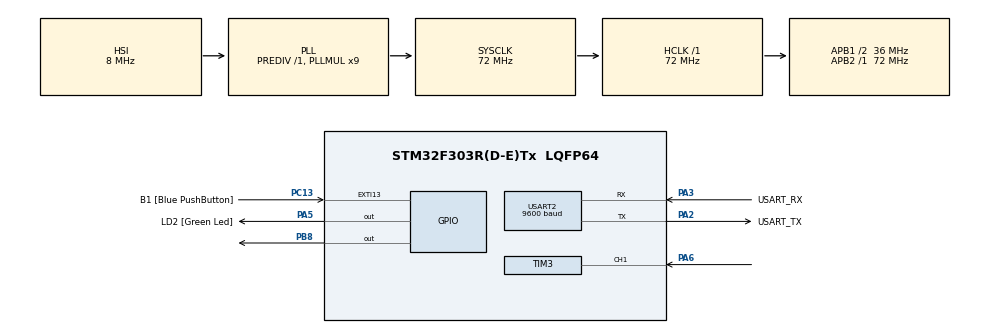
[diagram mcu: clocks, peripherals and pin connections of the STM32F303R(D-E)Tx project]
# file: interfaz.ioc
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Mcu.Family=STM32F3
Mcu.Name=STM32F303R(D-E)Tx
Mcu.Package=LQFP64
NVIC.PriorityGroup=NVIC_PRIORITYGROUP_0
NVIC.RCC_IRQn=true\:0\:0\:false\:false\:true\:true
NVIC.TIM3_IRQn=true\:0\:0\:false\:false\:true\:true
NVIC.USART2_IRQn=true\:0\:0\:false\:false\:true\:true
PA13.GPIO_Label=TMS
PA13.Signal=SYS_JTMS-SWDIO
PA14.GPIO_Label=TCK
PA14.Signal=SYS_JTCK-SWCLK
PA2.GPIO_Label=USART_TX
PA2.GPIO_Mode=GPIO_MODE_AF_PP
PA2.GPIO_PuPd=GPIO_NOPULL
PA2.GPIO_Speed=GPIO_SPEED_FREQ_LOW
PA2.Mode=Asynchronous
PA2.Signal=USART2_TX
PA3.GPIO_Label=USART_RX
PA3.GPIO_Mode=GPIO_MODE_AF_PP
PA3.GPIO_PuPd=GPIO_NOPULL
PA3.GPIO_Speed=GPIO_SPEED_FREQ_LOW
PA3.Mode=Asynchronous
PA3.Signal=USART2_RX
PA5.GPIO_Label=LD2 [Green Led]
PA5.GPIO_Mode=GPIO_MODE_OUTPUT_PP
PA5.GPIO_PuPd=GPIO_PULLDOWN
PA5.GPIO_Speed=GPIO_SPEED_FREQ_LOW
PA5.Signal=GPIO_Output
PA6.Signal=S_TIM3_CH1
PB3.GPIO_Label=SWO
PB3.Signal=SYS_JTDO-TRACESWO
PB8.GPIO_FM8=SYSCFG_CFGR1_I2C_PB8_FMP
PB8.Signal=GPIO_Output
PC13.GPIO_Label=B1 [Blue PushButton]
PC13.GPIO_ModeDefaultEXTI=GPIO_MODE_IT_FALLING
PC13.Signal=GPXTI13
PC14-OSC32_IN.Signal=RCC_OSC32_IN
PC15-OSC32_OUT.Signal=RCC_OSC32_OUT
PF0-OSC_IN.Signal=RCC_OSC_IN
PF1-OSC_OUT.Signal=RCC_OSC_OUT
ProjectManager.HeapSize=0x200
ProjectManager.StackSize=0x400
ProjectManager.TargetToolchain=SW4STM32
RCC.AHBFreq_Value=72000000
RCC.APB1CLKDivider=RCC_HCLK_DIV2
RCC.APB1Freq_Value=36000000
RCC.APB1TimFreq_Value=72000000
RCC.APB2Freq_Value=72000000
RCC.APB2TimFreq_Value=72000000
RCC.CortexFreq_Value=72000000
RCC.HCLKFreq_Value=72000000
RCC.HSE_VALUE=8000000
RCC.HSI_VALUE=8000000
RCC.LSE_VALUE=32768
RCC.PLLM=8
RCC.PLLMUL=RCC_PLL_MUL9
RCC.PLLN=336
RCC.PLLP=RCC_PLLP_DIV4
RCC.PLLQ=7
RCC.RCC_PLLsource_Clock_Source_FROM_HSE=RCC_HSE_PREDIV_DIV2
RCC.SYSCLKFreq_VALUE=72000000
RCC.SYSCLKSourceVirtual=RCC_SYSCLKSOURCE_PLLCLK
RCC.USBFreq_Value=72000000
SH.S_TIM3_CH1.0=TIM3_CH1,PWM_Input_1
TIM3.Period=700
USART2.BaudRate=9600
USART2.DMADisableonRxErrorParam=ADVFEATURE_DMA_ENABLEONRXERROR
USART2.VirtualMode-Asynchronous=VM_ASYNC
USART2.WordLength=WORDLENGTH_8B
VP_TIM3_VS_ClockSourceINT.Mode=Internal
board=NUCLEO-F303RE

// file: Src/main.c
/**
  ******************************************************************************
  * File Name          : main.c
  * Description        : Main program body
  ******************************************************************************
  ** This notice applies to any and all portions of this file
  * that are not between comment pairs USER CODE BEGIN and
  * USER CODE END. Other portions of this file, whether
  * inserted by the user or by software development tools
  * are owned by their respective copyright owners.
  *
  * COPYRIGHT(c) 2017 STMicroelectronics
  *
  * Redistribution and use in source and binary forms, with or without modification,
  * are permitted provided that the following conditions are met:
  *   1. Redistributions of source code must retain the above copyright notice,
  *      this list of conditions and the following disclaimer.
  *   2. Redistributions in binary form must reproduce the above copyright notice,
  *      this list of conditions and the following disclaimer in the documentation
  *      and/or other materials provided with the distribution.
  *   3. Neither the name of STMicroelectronics nor the names of its contributors
  *      may be used to endorse or promote products derived from this software
  *      without specific prior written permission.
  *
  * THIS SOFTWARE IS PROVIDED BY THE COPYRIGHT HOLDERS AND CONTRIBUTORS "AS IS"
  * AND ANY EXPRESS OR IMPLIED WARRANTIES, INCLUDING, BUT NOT LIMITED TO, THE
  * IMPLIED WARRANTIES OF MERCHANTABILITY AND FITNESS FOR A PARTICULAR PURPOSE ARE
  * DISCLAIMED. IN NO EVENT SHALL THE COPYRIGHT HOLDER OR CONTRIBUTORS BE LIABLE
  * FOR ANY DIRECT, INDIRECT, INCIDENTAL, SPECIAL, EXEMPLARY, OR CONSEQUENTIAL
  * DAMAGES (INCLUDING, BUT NOT LIMITED TO, PROCUREMENT OF SUBSTITUTE GOODS OR
  * SERVICES; LOSS OF USE, DATA, OR PROFITS; OR BUSINESS INTERRUPTION) HOWEVER
  * CAUSED AND ON ANY THEORY OF LIABILITY, WHETHER IN CONTRACT, STRICT LIABILITY,
  * OR TORT (INCLUDING NEGLIGENCE OR OTHERWISE) ARISING IN ANY WAY OUT OF THE USE
  * OF THIS SOFTWARE, EVEN IF ADVISED OF THE POSSIBILITY OF SUCH DAMAGE.
  *
  ******************************************************************************
  */

#include "main.h"
#include "stm32f3xx_hal.h"

TIM_HandleTypeDef htim3;

UART_HandleTypeDef huart2;

/* USER CODE BEGIN PV */
/* Private variables ---------------------------------------------------------*/
/* Receive buffer for DMA */

/* USER CODE END PV */

void SystemClock_Config(void);
static void MX_GPIO_Init(void);
static void MX_USART2_UART_Init(void);
static void MX_TIM3_Init(void);

/* USER CODE BEGIN PFP */
/* Private function prototypes -----------------------------------------------*/
void start_receive();
uint8_t* processLine(uint8_t*);
void receiveHandle(uint8_t* data);
/* USER CODE END PFP */

/* USER CODE BEGIN 0 */
void receiveHandle(uint8_t* data){
	uint8_t* line = processLine(data);
	HAL_GPIO_WritePin(GPIOB, GPIO_PIN_8,
			line[0] == 0
			? GPIO_PIN_RESET
			: GPIO_PIN_SET);
	HAL_TIM_Base_Start_IT(&htim3);
}

uint8_t* processLine(uint8_t* data){
	return data;
}
/* USER CODE END 0 */

int main(void)
{

  /* MCU Configuration----------------------------------------------------------*/

  /* Reset of all peripherals, Initializes the Flash interface and the Systick. */
  HAL_Init();

  /* Configure the system clock */
  SystemClock_Config();

  /* Initialize all configured peripherals */
  MX_GPIO_Init();
  MX_USART2_UART_Init();
  MX_TIM3_Init();

  /* USER CODE BEGIN 2 */
  /* Initialize buffer */

  HAL_GPIO_WritePin(GPIOA, GPIO_PIN_5, GPIO_PIN_RESET);
  start_receive();

  //HAL_UART_Receive(&huart2, DMA_RX_Buffer, DMA_RX_BUFFER_SIZE, 100);
  /* USER CODE END 2 */

  /* Infinite loop */
  while (1)
  {

  /* USER CODE BEGIN 3 */
	  uint8_t* data = getData();
	  if(data != NULL)
	  {
		  receiveHandle(data);
	  }
	  HAL_Delay(100);

//		HAL_GPIO_WritePin(GPIOA, GPIO_PIN_5, GPIO_PIN_SET);
//		  HAL_Delay(1000);
//		HAL_GPIO_WritePin(GPIOA, GPIO_PIN_5, GPIO_PIN_RESET);
  }
  /* USER CODE END 3 */

}

/** System Clock Configuration
*/
void SystemClock_Config(void)
{

  RCC_OscInitTypeDef RCC_OscInitStruct;
  RCC_ClkInitTypeDef RCC_ClkInitStruct;
  RCC_PeriphCLKInitTypeDef PeriphClkInit;

    /**Initializes the CPU, AHB and APB busses clocks
    */
  RCC_OscInitStruct.OscillatorType = RCC_OSCILLATORTYPE_HSI;
  RCC_OscInitStruct.HSIState = RCC_HSI_ON;
  RCC_OscInitStruct.HSICalibrationValue = 16;
  RCC_OscInitStruct.PLL.PLLState = RCC_PLL_ON;
  RCC_OscInitStruct.PLL.PLLSource = RCC_PLLSOURCE_HSI;
  RCC_OscInitStruct.PLL.PLLMUL = RCC_PLL_MUL9;
  RCC_OscInitStruct.PLL.PREDIV = RCC_PREDIV_DIV1;
  if (HAL_RCC_OscConfig(&RCC_OscInitStruct) != HAL_OK)
  {
    _Error_Handler(__FILE__, __LINE__);
  }

    /**Initializes the CPU, AHB and APB busses clocks
    */
  RCC_ClkInitStruct.ClockType = RCC_CLOCKTYPE_HCLK|RCC_CLOCKTYPE_SYSCLK
                              |RCC_CLOCKTYPE_PCLK1|RCC_CLOCKTYPE_PCLK2;
  RCC_ClkInitStruct.SYSCLKSource = RCC_SYSCLKSOURCE_PLLCLK;
  RCC_ClkInitStruct.AHBCLKDivider = RCC_SYSCLK_DIV1;
  RCC_ClkInitStruct.APB1CLKDivider = RCC_HCLK_DIV2;
  RCC_ClkInitStruct.APB2CLKDivider = RCC_HCLK_DIV1;

  if (HAL_RCC_ClockConfig(&RCC_ClkInitStruct, FLASH_LATENCY_2) != HAL_OK)
  {
    _Error_Handler(__FILE__, __LINE__);
  }

  PeriphClkInit.PeriphClockSelection = RCC_PERIPHCLK_USART2|RCC_PERIPHCLK_TIM34;
  PeriphClkInit.Usart2ClockSelection = RCC_USART2CLKSOURCE_PCLK1;
  PeriphClkInit.Tim34ClockSelection = RCC_TIM34CLK_HCLK;
  if (HAL_RCCEx_PeriphCLKConfig(&PeriphClkInit) != HAL_OK)
  {
    _Error_Handler(__FILE__, __LINE__);
  }

    /**Configure the Systick interrupt time
    */
  HAL_SYSTICK_Config(HAL_RCC_GetHCLKFreq()/1000);

    /**Configure the Systick
    */
  HAL_SYSTICK_CLKSourceConfig(SYSTICK_CLKSOURCE_HCLK);

  /* SysTick_IRQn interrupt configuration */
  HAL_NVIC_SetPriority(SysTick_IRQn, 0, 0);
}

/* TIM3 init function */
static void MX_TIM3_Init(void)
{

  TIM_ClockConfigTypeDef sClockSourceConfig;
  TIM_SlaveConfigTypeDef sSlaveConfig;
  TIM_IC_InitTypeDef sConfigIC;
  TIM_MasterConfigTypeDef sMasterConfig;

  htim3.Instance = TIM3;
  htim3.Init.Prescaler = 0;
  htim3.Init.CounterMode = TIM_COUNTERMODE_UP;
  htim3.Init.Period = 700;
  htim3.Init.ClockDivision = TIM_CLOCKDIVISION_DIV1;
  htim3.Init.AutoReloadPreload = TIM_AUTORELOAD_PRELOAD_DISABLE;
  if (HAL_TIM_Base_Init(&htim3) != HAL_OK)
  {
    _Error_Handler(__FILE__, __LINE__);
  }

  sClockSourceConfig.ClockSource = TIM_CLOCKSOURCE_INTERNAL;
  if (HAL_TIM_ConfigClockSource(&htim3, &sClockSourceConfig) != HAL_OK)
  {
    _Error_Handler(__FILE__, __LINE__);
  }

  if (HAL_TIM_IC_Init(&htim3) != HAL_OK)
  {
    _Error_Handler(__FILE__, __LINE__);
  }

  sSlaveConfig.SlaveMode = TIM_SLAVEMODE_RESET;
  sSlaveConfig.InputTrigger = TIM_TS_TI1FP1;
  sSlaveConfig.TriggerPolarity = TIM_INPUTCHANNELPOLARITY_RISING;
  sSlaveConfig.TriggerPrescaler = TIM_ICPSC_DIV1;
  sSlaveConfig.TriggerFilter = 0;
  if (HAL_TIM_SlaveConfigSynchronization(&htim3, &sSlaveConfig) != HAL_OK)
  {
    _Error_Handler(__FILE__, __LINE__);
  }

  sConfigIC.ICPolarity = TIM_INPUTCHANNELPOLARITY_RISING;
  sConfigIC.ICSelection = TIM_ICSELECTION_DIRECTTI;
  sConfigIC.ICPrescaler = TIM_ICPSC_DIV1;
  sConfigIC.ICFilter = 0;
  if (HAL_TIM_IC_ConfigChannel(&htim3, &sConfigIC, TIM_CHANNEL_1) != HAL_OK)
  {
    _Error_Handler(__FILE__, __LINE__);
  }

  sConfigIC.ICPolarity = TIM_INPUTCHANNELPOLARITY_FALLING;
  sConfigIC.ICSelection = TIM_ICSELECTION_INDIRECTTI;
  if (HAL_TIM_IC_ConfigChannel(&htim3, &sConfigIC, TIM_CHANNEL_2) != HAL_OK)
  {
    _Error_Handler(__FILE__, __LINE__);
  }

  sMasterConfig.MasterOutputTrigger = TIM_TRGO_RESET;
  sMasterConfig.MasterSlaveMode = TIM_MASTERSLAVEMODE_DISABLE;
  if (HAL_TIMEx_MasterConfigSynchronization(&htim3, &sMasterConfig) != HAL_OK)
  {
    _Error_Handler(__FILE__, __LINE__);
  }

}

/* USART2 init function */
static void MX_USART2_UART_Init(void)
{

  huart2.Instance = USART2;
  huart2.Init.BaudRate = 9600;
  huart2.Init.WordLength = UART_WORDLENGTH_8B;
  huart2.Init.StopBits = UART_STOPBITS_1;
  huart2.Init.Parity = UART_PARITY_NONE;
  huart2.Init.Mode = UART_MODE_TX_RX;
  huart2.Init.HwFlowCtl = UART_HWCONTROL_NONE;
  huart2.Init.OverSampling = UART_OVERSAMPLING_16;
  huart2.Init.OneBitSampling = UART_ONE_BIT_SAMPLE_DISABLE;
  huart2.AdvancedInit.AdvFeatureInit = UART_ADVFEATURE_NO_INIT;
  if (HAL_UART_Init(&huart2) != HAL_OK)
  {
    _Error_Handler(__FILE__, __LINE__);
  }

}

/** Configure pins as
        * Analog
        * Input
        * Output
        * EVENT_OUT
        * EXTI
*/
static void MX_GPIO_Init(void)
{

  GPIO_InitTypeDef GPIO_InitStruct;

  /* GPIO Ports Clock Enable */
  __HAL_RCC_GPIOC_CLK_ENABLE();
  __HAL_RCC_GPIOF_CLK_ENABLE();
  __HAL_RCC_GPIOA_CLK_ENABLE();
  __HAL_RCC_GPIOB_CLK_ENABLE();

  /*Configure GPIO pin Output Level */
  HAL_GPIO_WritePin(LD2_GPIO_Port, LD2_Pin, GPIO_PIN_RESET);

  /*Configure GPIO pin Output Level */
  HAL_GPIO_WritePin(GPIOB, GPIO_PIN_8, GPIO_PIN_RESET);

  /*Configure GPIO pin : B1_Pin */
  GPIO_InitStruct.Pin = B1_Pin;
  GPIO_InitStruct.Mode = GPIO_MODE_IT_FALLING;
  GPIO_InitStruct.Pull = GPIO_NOPULL;
  HAL_GPIO_Init(B1_GPIO_Port, &GPIO_InitStruct);

  /*Configure GPIO pin : LD2_Pin */
  GPIO_InitStruct.Pin = LD2_Pin;
  GPIO_InitStruct.Mode = GPIO_MODE_OUTPUT_PP;
  GPIO_InitStruct.Pull = GPIO_PULLDOWN;
  GPIO_InitStruct.Speed = GPIO_SPEED_FREQ_LOW;
  HAL_GPIO_Init(LD2_GPIO_Port, &GPIO_InitStruct);

  /*Configure GPIO pin : PB8 */
  GPIO_InitStruct.Pin = GPIO_PIN_8;
  GPIO_InitStruct.Mode = GPIO_MODE_OUTPUT_PP;
  GPIO_InitStruct.Pull = GPIO_NOPULL;
  GPIO_InitStruct.Speed = GPIO_SPEED_FREQ_LOW;
  HAL_GPIO_Init(GPIOB, &GPIO_InitStruct);

  /**/
  HAL_I2CEx_EnableFastModePlus(SYSCFG_CFGR1_I2C_PB8_FMP);

}

void _Error_Handler(char * file, int line)
{
  while(1)
  {
  }
}

/************************ (C) COPYRIGHT STMicroelectronics *****END OF FILE****/
